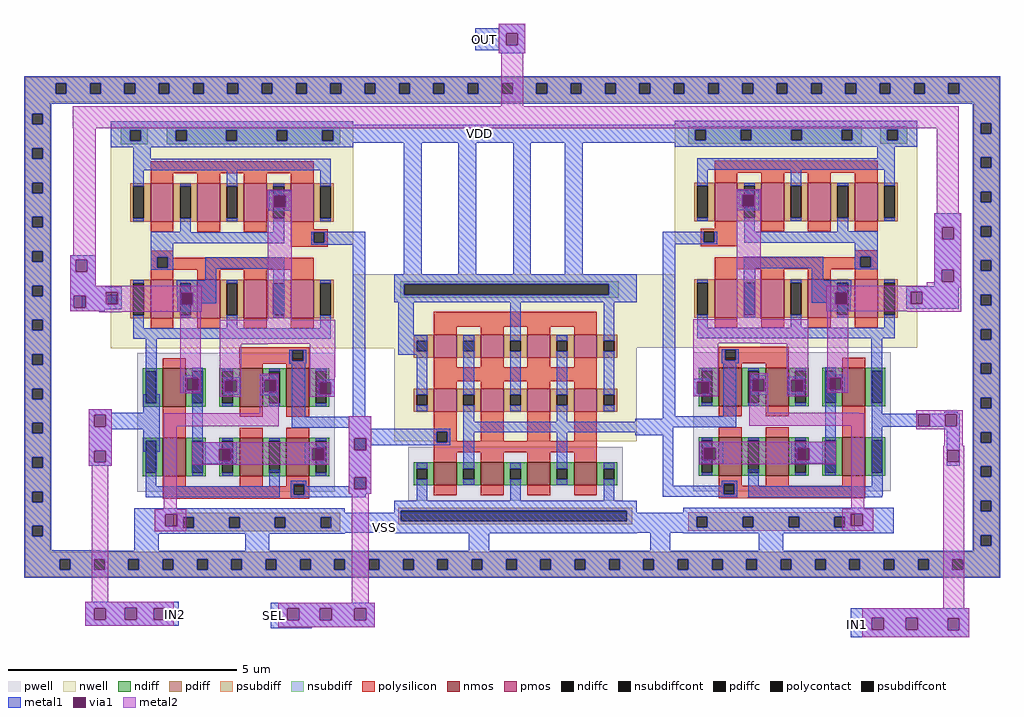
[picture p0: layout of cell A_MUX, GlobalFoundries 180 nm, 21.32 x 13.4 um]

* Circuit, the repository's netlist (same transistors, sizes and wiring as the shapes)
** sch_path: /home/moya/Documents/EuroCDP/ms_IPs/PLL/PLL-main/schematic/xschem/A_MUX.sch
.subckt A_MUX VDD VSS IN1 IN2 SEL OUT
*.iopin VSS
*.ipin IN1
*.ipin IN2
*.ipin SEL
*.opin OUT
*.iopin VDD
x1 OUT VDD VSS IN2 SEL TR_Gate
x2 OUT VDD VSS IN1 net1 TR_Gate
x3 VSS VDD net1 SEL INV_1
**.ends

* expanding   symbol:  schematic/xschem/TR_Gate.sym # of pins=5
** sym_path: /home/moya/Documents/EuroCDP/ms_IPs/PLL/PLL-main/schematic/xschem/TR_Gate.sym
** sch_path: /home/moya/Documents/EuroCDP/ms_IPs/PLL/PLL-main/schematic/xschem/TR_Gate.sch
.subckt TR_Gate OUT VDD VSS IN CLK
*.iopin VDD
*.iopin VSS
*.ipin IN
*.opin OUT
*.ipin CLK
XM1 IN net1 OUT VDD pfet_03v3 L=0.5u W=3.36u nf=1 ad='int((nf+1)/2) * W/nf * 0.18u' as='int((nf+2)/2) * W/nf * 0.18u' pd='2*int((nf+1)/2) * (W/nf + 0.18u)'
+ ps='2*int((nf+2)/2) * (W/nf + 0.18u)' nrd='0.18u / W' nrs='0.18u / W' sa=0 sb=0 sd=0 m=1
XM2 IN CLK OUT VSS nfet_03v3 L=0.5u W=3.36u nf=1 ad='int((nf+1)/2) * W/nf * 0.18u' as='int((nf+2)/2) * W/nf * 0.18u' pd='2*int((nf+1)/2) * (W/nf + 0.18u)'
+ ps='2*int((nf+2)/2) * (W/nf + 0.18u)' nrd='0.18u / W' nrs='0.18u / W' sa=0 sb=0 sd=0 m=1
XM3 net1 CLK VDD VDD pfet_03v3 L=0.5u W=3.36u nf=1 ad='int((nf+1)/2) * W/nf * 0.18u' as='int((nf+2)/2) * W/nf * 0.18u' pd='2*int((nf+1)/2) * (W/nf + 0.18u)'
+ ps='2*int((nf+2)/2) * (W/nf + 0.18u)' nrd='0.18u / W' nrs='0.18u / W' sa=0 sb=0 sd=0 m=1
XM4 net1 CLK VSS VSS nfet_03v3 L=0.5u W=1.68u nf=1 ad='int((nf+1)/2) * W/nf * 0.18u' as='int((nf+2)/2) * W/nf * 0.18u' pd='2*int((nf+1)/2) * (W/nf + 0.18u)'
+ ps='2*int((nf+2)/2) * (W/nf + 0.18u)' nrd='0.18u / W' nrs='0.18u / W' sa=0 sb=0 sd=0 m=1
.ends


* expanding   symbol:  schematic/xschem/INV_1.sym # of pins=4
** sym_path: /home/moya/Documents/EuroCDP/ms_IPs/PLL/PLL-main/schematic/xschem/INV_1.sym
** sch_path: /home/moya/Documents/EuroCDP/ms_IPs/PLL/PLL-main/schematic/xschem/INV_1.sch
.subckt INV_1 VSS VDD OUT IN
*.iopin VDD
*.iopin VSS
*.ipin IN
*.opin OUT
XM1 OUT IN VSS VSS nfet_03v3 L=0.5u W=2u nf=1 ad='int((nf+1)/2) * W/nf * 0.18u' as='int((nf+2)/2) * W/nf * 0.18u' pd='2*int((nf+1)/2) * (W/nf + 0.18u)'
+ ps='2*int((nf+2)/2) * (W/nf + 0.18u)' nrd='0.18u / W' nrs='0.18u / W' sa=0 sb=0 sd=0 m=1
XM2 OUT IN VDD VDD pfet_03v3 L=0.5u W=4u nf=1 ad='int((nf+1)/2) * W/nf * 0.18u' as='int((nf+2)/2) * W/nf * 0.18u' pd='2*int((nf+1)/2) * (W/nf + 0.18u)'
+ ps='2*int((nf+2)/2) * (W/nf + 0.18u)' nrd='0.18u / W' nrs='0.18u / W' sa=0 sb=0 sd=0 m=1
.ends

.end

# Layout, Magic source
magic
tech gf180mcuD
magscale 1 10
<< nwell >>
rect 1154 811 1332 1134
rect 2392 813 2558 1134
<< psubdiff >>
rect -280 1967 3975 1994
rect -280 1921 -146 1967
rect -100 1921 4 1967
rect 50 1921 154 1967
rect 200 1921 304 1967
rect 350 1921 454 1967
rect 500 1921 604 1967
rect 650 1921 754 1967
rect 800 1921 904 1967
rect 950 1921 1054 1967
rect 1100 1921 1204 1967
rect 1250 1921 1354 1967
rect 1400 1921 1504 1967
rect 1550 1921 1654 1967
rect 1700 1921 1804 1967
rect 1850 1921 1954 1967
rect 2000 1921 2104 1967
rect 2150 1921 2254 1967
rect 2300 1921 2404 1967
rect 2450 1921 2554 1967
rect 2600 1921 2704 1967
rect 2750 1921 2854 1967
rect 2900 1921 3004 1967
rect 3050 1921 3154 1967
rect 3200 1921 3304 1967
rect 3350 1921 3454 1967
rect 3500 1921 3604 1967
rect 3650 1921 3754 1967
rect 3800 1921 3975 1967
rect -280 1884 3975 1921
rect -280 1834 -170 1884
rect -280 1788 -248 1834
rect -202 1788 -170 1834
rect -280 1684 -170 1788
rect -280 1638 -248 1684
rect -202 1638 -170 1684
rect -280 1534 -170 1638
rect -280 1488 -248 1534
rect -202 1488 -170 1534
rect -280 1384 -170 1488
rect -280 1338 -248 1384
rect -202 1338 -170 1384
rect -280 1234 -170 1338
rect -280 1188 -248 1234
rect -202 1188 -170 1234
rect -280 1084 -170 1188
rect -280 1038 -248 1084
rect -202 1038 -170 1084
rect -280 934 -170 1038
rect -280 888 -248 934
rect -202 888 -170 934
rect -280 784 -170 888
rect -280 738 -248 784
rect -202 738 -170 784
rect -280 634 -170 738
rect -280 588 -248 634
rect -202 588 -170 634
rect -280 484 -170 588
rect -280 438 -248 484
rect -202 438 -170 484
rect -280 334 -170 438
rect -280 288 -248 334
rect -202 288 -170 334
rect -280 184 -170 288
rect -280 138 -248 184
rect -202 138 -170 184
rect -280 34 -170 138
rect -280 -12 -248 34
rect -202 -12 -170 34
rect -280 -79 -170 -12
rect 3865 1794 3975 1884
rect 3865 1748 3894 1794
rect 3940 1748 3975 1794
rect 3865 1644 3975 1748
rect 3865 1598 3894 1644
rect 3940 1598 3975 1644
rect 3865 1494 3975 1598
rect 3865 1448 3894 1494
rect 3940 1448 3975 1494
rect 3865 1344 3975 1448
rect 3865 1298 3894 1344
rect 3940 1298 3975 1344
rect 3865 1194 3975 1298
rect 3865 1148 3894 1194
rect 3940 1148 3975 1194
rect 3865 1044 3975 1148
rect 3865 998 3894 1044
rect 3940 998 3975 1044
rect 3865 894 3975 998
rect 3865 848 3894 894
rect 3940 848 3975 894
rect 3865 744 3975 848
rect 3865 698 3894 744
rect 3940 698 3975 744
rect 3865 594 3975 698
rect 3865 548 3894 594
rect 3940 548 3975 594
rect 3865 444 3975 548
rect 3865 398 3894 444
rect 3940 398 3975 444
rect 3865 294 3975 398
rect 3865 248 3894 294
rect 3940 248 3975 294
rect 3865 144 3975 248
rect 3865 98 3894 144
rect 3940 98 3975 144
rect 3865 -6 3975 98
rect 3865 -52 3894 -6
rect 3940 -52 3975 -6
rect 3865 -79 3975 -52
rect -280 -112 3975 -79
rect -280 -158 -129 -112
rect -83 -158 21 -112
rect 67 -158 171 -112
rect 217 -158 321 -112
rect 367 -158 471 -112
rect 517 -158 621 -112
rect 667 -158 771 -112
rect 817 -158 921 -112
rect 967 -158 1071 -112
rect 1117 -158 1221 -112
rect 1267 -158 1371 -112
rect 1417 -158 1521 -112
rect 1567 -158 1671 -112
rect 1717 -158 1821 -112
rect 1867 -158 1971 -112
rect 2017 -158 2121 -112
rect 2167 -158 2271 -112
rect 2317 -158 2421 -112
rect 2467 -158 2571 -112
rect 2617 -158 2721 -112
rect 2767 -158 2871 -112
rect 2917 -158 3021 -112
rect 3067 -158 3171 -112
rect 3217 -158 3321 -112
rect 3367 -158 3471 -112
rect 3517 -158 3621 -112
rect 3667 -158 3771 -112
rect 3817 -158 3975 -112
rect -280 -189 3975 -158
<< psubdiffcont >>
rect -146 1921 -100 1967
rect 4 1921 50 1967
rect 154 1921 200 1967
rect 304 1921 350 1967
rect 454 1921 500 1967
rect 604 1921 650 1967
rect 754 1921 800 1967
rect 904 1921 950 1967
rect 1054 1921 1100 1967
rect 1204 1921 1250 1967
rect 1354 1921 1400 1967
rect 1504 1921 1550 1967
rect 1654 1921 1700 1967
rect 1804 1921 1850 1967
rect 1954 1921 2000 1967
rect 2104 1921 2150 1967
rect 2254 1921 2300 1967
rect 2404 1921 2450 1967
rect 2554 1921 2600 1967
rect 2704 1921 2750 1967
rect 2854 1921 2900 1967
rect 3004 1921 3050 1967
rect 3154 1921 3200 1967
rect 3304 1921 3350 1967
rect 3454 1921 3500 1967
rect 3604 1921 3650 1967
rect 3754 1921 3800 1967
rect -248 1788 -202 1834
rect -248 1638 -202 1684
rect -248 1488 -202 1534
rect -248 1338 -202 1384
rect -248 1188 -202 1234
rect -248 1038 -202 1084
rect -248 888 -202 934
rect -248 738 -202 784
rect -248 588 -202 634
rect -248 438 -202 484
rect -248 288 -202 334
rect -248 138 -202 184
rect -248 -12 -202 34
rect 3894 1748 3940 1794
rect 3894 1598 3940 1644
rect 3894 1448 3940 1494
rect 3894 1298 3940 1344
rect 3894 1148 3940 1194
rect 3894 998 3940 1044
rect 3894 848 3940 894
rect 3894 698 3940 744
rect 3894 548 3940 594
rect 3894 398 3940 444
rect 3894 248 3940 294
rect 3894 98 3940 144
rect 3894 -52 3940 -6
rect -129 -158 -83 -112
rect 21 -158 67 -112
rect 171 -158 217 -112
rect 321 -158 367 -112
rect 471 -158 517 -112
rect 621 -158 667 -112
rect 771 -158 817 -112
rect 921 -158 967 -112
rect 1071 -158 1117 -112
rect 1221 -158 1267 -112
rect 1371 -158 1417 -112
rect 1521 -158 1567 -112
rect 1671 -158 1717 -112
rect 1821 -158 1867 -112
rect 1971 -158 2017 -112
rect 2121 -158 2167 -112
rect 2271 -158 2317 -112
rect 2421 -158 2467 -112
rect 2571 -158 2617 -112
rect 2721 -158 2767 -112
rect 2871 -158 2917 -112
rect 3021 -158 3067 -112
rect 3171 -158 3217 -112
rect 3321 -158 3367 -112
rect 3471 -158 3517 -112
rect 3621 -158 3667 -112
rect 3771 -158 3817 -112
<< metal1 >>
rect 1789 2209 1905 2227
rect 1686 2186 1905 2209
rect 1686 2134 1821 2186
rect 1873 2134 1905 2186
rect 1686 2112 1905 2134
rect 1789 2098 1905 2112
rect -285 1967 3979 1999
rect -285 1921 -146 1967
rect -100 1921 4 1967
rect 50 1921 154 1967
rect 200 1921 304 1967
rect 350 1921 454 1967
rect 500 1921 604 1967
rect 650 1921 754 1967
rect 800 1921 904 1967
rect 950 1921 1054 1967
rect 1100 1921 1204 1967
rect 1250 1921 1354 1967
rect 1400 1921 1504 1967
rect 1550 1921 1654 1967
rect 1700 1921 1804 1967
rect 1850 1921 1954 1967
rect 2000 1921 2104 1967
rect 2150 1921 2254 1967
rect 2300 1921 2404 1967
rect 2450 1921 2554 1967
rect 2600 1921 2704 1967
rect 2750 1921 2854 1967
rect 2900 1921 3004 1967
rect 3050 1921 3154 1967
rect 3200 1921 3304 1967
rect 3350 1921 3454 1967
rect 3500 1921 3604 1967
rect 3650 1921 3754 1967
rect 3800 1921 3979 1967
rect -285 1879 3979 1921
rect -285 1834 -165 1879
rect -285 1788 -248 1834
rect -202 1788 -165 1834
rect -285 1684 -165 1788
rect 3859 1794 3979 1879
rect 1076 1708 2587 1786
rect 3859 1748 3894 1794
rect 3940 1748 3979 1794
rect -285 1638 -248 1684
rect -202 1638 -165 1684
rect -285 1534 -165 1638
rect -285 1488 -248 1534
rect -202 1488 -165 1534
rect -285 1384 -165 1488
rect -285 1338 -248 1384
rect -202 1338 -165 1384
rect -285 1234 -165 1338
rect -285 1188 -248 1234
rect -202 1188 -165 1234
rect -285 1084 -165 1188
rect -285 1038 -248 1084
rect -202 1038 -165 1084
rect -285 934 -165 1038
rect -82 1196 28 1217
rect -82 1144 -60 1196
rect -8 1144 28 1196
rect -82 1084 28 1144
rect 1374 1112 1452 1708
rect 1613 1106 1691 1708
rect 1852 1099 1930 1708
rect 2078 1108 2156 1708
rect 3859 1644 3979 1748
rect 3859 1598 3894 1644
rect 3940 1598 3979 1644
rect 3859 1494 3979 1598
rect 3859 1448 3894 1494
rect 3940 1448 3979 1494
rect 3691 1338 3810 1399
rect 3691 1286 3726 1338
rect 3778 1286 3810 1338
rect 3691 1190 3810 1286
rect 3692 1153 3810 1190
rect 3692 1101 3724 1153
rect 3776 1101 3810 1153
rect -82 1044 67 1084
rect 3692 1080 3810 1101
rect 3648 1076 3810 1080
rect 3859 1344 3979 1448
rect 3859 1298 3894 1344
rect 3940 1298 3979 1344
rect 3859 1194 3979 1298
rect 3859 1148 3894 1194
rect 3940 1148 3979 1194
rect -82 1039 120 1044
rect -82 987 -67 1039
rect -15 987 120 1039
rect -82 982 120 987
rect 3648 983 3799 1076
rect 3859 1044 3979 1148
rect 3859 998 3894 1044
rect 3940 998 3979 1044
rect -82 971 67 982
rect -285 888 -248 934
rect -202 888 -165 934
rect -285 784 -165 888
rect -285 738 -248 784
rect -202 738 -165 784
rect -285 634 -165 738
rect -285 588 -248 634
rect -202 588 -165 634
rect 3859 894 3979 998
rect 3859 848 3894 894
rect 3940 848 3979 894
rect 3859 744 3979 848
rect 3859 698 3894 744
rect 3940 698 3979 744
rect -285 484 -165 588
rect -285 438 -248 484
rect -202 438 -165 484
rect -285 334 -165 438
rect -285 288 -248 334
rect -202 288 -165 334
rect -3 529 98 543
rect 235 529 307 609
rect 3859 594 3979 698
rect 3859 548 3894 594
rect 3940 548 3979 594
rect -3 519 307 529
rect 3735 524 3795 533
rect -3 467 21 519
rect 73 467 307 519
rect 3458 521 3804 524
rect -3 457 307 467
rect -3 363 98 457
rect -3 311 21 363
rect 73 311 98 363
rect 235 358 307 457
rect 1134 459 1232 512
rect 2385 488 2551 503
rect 1134 416 1453 459
rect 2336 442 2551 488
rect 3458 469 3621 521
rect 3673 469 3739 521
rect 3791 469 3804 521
rect 3458 466 3804 469
rect 3735 457 3804 466
rect 2385 430 2551 442
rect 1134 364 1158 416
rect 1210 387 1453 416
rect 1210 364 1232 387
rect -3 296 98 311
rect -285 184 -165 288
rect -285 138 -248 184
rect -202 138 -165 184
rect 1134 247 1232 364
rect 3746 365 3804 457
rect 3746 313 3749 365
rect 3801 313 3804 365
rect 3746 297 3804 313
rect 3859 444 3979 548
rect 3859 398 3894 444
rect 3940 398 3979 444
rect 1134 195 1158 247
rect 1210 195 1232 247
rect 1134 174 1232 195
rect 3859 294 3979 398
rect 3859 248 3894 294
rect 3940 248 3979 294
rect -285 34 -165 138
rect 3859 144 3979 248
rect -285 -12 -248 34
rect -202 -12 -165 34
rect -285 -73 -165 -12
rect -285 -74 46 -73
rect 197 -74 304 107
rect 681 -74 786 105
rect 1054 3 2632 91
rect 1657 -74 1747 3
rect 2451 -74 2539 3
rect 2926 -74 3031 107
rect 3859 98 3894 144
rect 3940 98 3979 144
rect 3859 -6 3979 98
rect 3859 -52 3894 -6
rect 3940 -52 3979 -6
rect 3859 -74 3979 -52
rect -285 -112 3979 -74
rect -285 -158 -129 -112
rect -83 -158 21 -112
rect 67 -158 171 -112
rect 217 -158 321 -112
rect 367 -158 471 -112
rect 517 -158 621 -112
rect 667 -158 771 -112
rect 817 -158 921 -112
rect 967 -158 1071 -112
rect 1117 -158 1221 -112
rect 1267 -158 1371 -112
rect 1417 -158 1521 -112
rect 1567 -158 1671 -112
rect 1717 -158 1821 -112
rect 1867 -158 1971 -112
rect 2017 -158 2121 -112
rect 2167 -158 2271 -112
rect 2317 -158 2421 -112
rect 2467 -158 2571 -112
rect 2617 -158 2721 -112
rect 2767 -158 2871 -112
rect 2917 -158 3021 -112
rect 3067 -158 3171 -112
rect 3217 -158 3321 -112
rect 3367 -158 3471 -112
rect 3517 -158 3621 -112
rect 3667 -158 3771 -112
rect 3817 -158 3979 -112
rect -285 -193 3979 -158
rect -17 -324 392 -297
rect -17 -325 156 -324
rect -17 -377 21 -325
rect 73 -376 156 -325
rect 208 -325 392 -324
rect 208 -376 281 -325
rect 73 -377 281 -376
rect 333 -377 392 -325
rect -17 -403 392 -377
rect 794 -302 972 -301
rect 794 -326 1248 -302
rect 794 -378 866 -326
rect 918 -378 1007 -326
rect 1059 -378 1158 -326
rect 1210 -378 1248 -326
rect 794 -410 1248 -378
rect 3327 -367 3845 -327
rect 3327 -368 3568 -367
rect 794 -413 972 -410
rect 3327 -420 3419 -368
rect 3471 -419 3568 -368
rect 3620 -369 3845 -367
rect 3620 -419 3750 -369
rect 3471 -420 3750 -419
rect 3327 -421 3750 -420
rect 3802 -421 3845 -369
rect 3327 -452 3845 -421
<< via1 >>
rect 1821 2134 1873 2186
rect -60 1144 -8 1196
rect 3726 1286 3778 1338
rect 3724 1101 3776 1153
rect -67 987 -15 1039
rect 21 467 73 519
rect 21 311 73 363
rect 3621 469 3673 521
rect 3739 469 3791 521
rect 1158 364 1210 416
rect 3749 313 3801 365
rect 1158 195 1210 247
rect 21 -377 73 -325
rect 156 -376 208 -324
rect 281 -377 333 -325
rect 866 -378 918 -326
rect 1007 -378 1059 -326
rect 1158 -378 1210 -326
rect 3419 -420 3471 -368
rect 3568 -419 3620 -367
rect 3750 -421 3802 -369
<< metal2 >>
rect 1789 2186 1905 2227
rect 1789 2134 1821 2186
rect 1873 2134 1905 2186
rect 1789 2098 1905 2134
rect 1799 1868 1896 2098
rect -73 1771 3799 1868
rect -69 1217 28 1771
rect 3702 1399 3799 1771
rect -82 1196 28 1217
rect -82 1144 -60 1196
rect -8 1144 28 1196
rect 3691 1338 3810 1399
rect 3691 1286 3726 1338
rect 3778 1286 3810 1338
rect 3691 1190 3810 1286
rect -82 1084 28 1144
rect 3692 1153 3810 1190
rect 3692 1101 3724 1153
rect 3776 1101 3810 1153
rect 3692 1099 3810 1101
rect -82 1044 67 1084
rect 3659 1076 3810 1099
rect -82 1039 78 1044
rect -82 987 -67 1039
rect -15 987 78 1039
rect -82 982 78 987
rect -82 971 67 982
rect 3659 969 3809 1076
rect -3 519 98 543
rect -3 467 21 519
rect 73 467 98 519
rect 3613 521 3816 539
rect -3 363 98 467
rect -3 311 21 363
rect 73 311 98 363
rect -3 296 98 311
rect 1134 416 1232 512
rect 3613 469 3621 521
rect 3673 469 3739 521
rect 3791 469 3816 521
rect 3613 455 3816 469
rect 1134 364 1158 416
rect 1210 364 1232 416
rect 3736 384 3816 455
rect 11 -297 83 296
rect 1134 247 1232 364
rect 1134 195 1158 247
rect 1210 195 1232 247
rect 1134 174 1232 195
rect 3731 365 3822 384
rect 3731 313 3749 365
rect 3801 313 3822 365
rect -17 -324 369 -297
rect 1146 -302 1222 174
rect -17 -325 156 -324
rect -17 -377 21 -325
rect 73 -376 156 -325
rect 208 -325 369 -324
rect 208 -376 281 -325
rect 73 -377 281 -376
rect 333 -377 369 -325
rect -17 -403 369 -377
rect 826 -326 1248 -302
rect 826 -378 866 -326
rect 918 -378 1007 -326
rect 1059 -378 1158 -326
rect 1210 -378 1248 -326
rect 3731 -327 3822 313
rect 826 -410 1248 -378
rect 3378 -367 3845 -327
rect 3378 -368 3568 -367
rect 3378 -420 3419 -368
rect 3471 -419 3568 -368
rect 3620 -369 3845 -367
rect 3620 -419 3750 -369
rect 3471 -420 3750 -419
rect 3378 -421 3750 -420
rect 3802 -421 3845 -369
rect 3378 -452 3845 -421
use INV_2  INV_2_0
transform 1 0 1311 0 1 486
box 21 -485 1081 648
use Tr_Gate  Tr_Gate_0
transform -1 0 1154 0 1 1233
box -53 -1233 1187 569
use Tr_Gate  Tr_Gate_1
transform 1 0 2558 0 1 1235
box -53 -1233 1187 569
<< labels >>
flabel metal1 s 811 -359 811 -359 0 FreeSans 1250 0 0 0 SEL
port 1 nsew
flabel metal1 s 3355 -397 3355 -397 0 FreeSans 1250 0 0 0 IN1
port 2 nsew
flabel metal1 s 377 -354 377 -354 0 FreeSans 1250 0 0 0 IN2
port 3 nsew
flabel metal1 s 1705 1747 1705 1747 0 FreeSans 1250 0 0 0 VDD
port 4 nsew
flabel metal1 s 1288 27 1288 27 0 FreeSans 1250 0 0 0 VSS
port 5 nsew
flabel metal1 s 1728 2158 1728 2158 0 FreeSans 1250 0 0 0 OUT
port 6 nsew
<< end >>

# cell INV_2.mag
magic
tech gf180mcuD
magscale 1 10
<< nwell >>
rect 21 513 1081 648
rect 21 507 166 513
rect 168 507 525 508
rect 528 507 1081 513
rect 371 470 907 483
rect 321 180 324 242
<< psubdiff >>
rect 38 -385 1061 -372
rect 38 -431 51 -385
rect 1037 -431 1061 -385
rect 38 -444 1061 -431
<< nsubdiff >>
rect 47 604 1002 617
rect 47 558 66 604
rect 958 558 1002 604
rect 47 545 1002 558
<< psubdiffcont >>
rect 51 -431 1037 -385
<< nsubdiffcont >>
rect 66 558 958 604
<< polysilicon >>
rect 195 417 907 483
rect 195 180 907 242
rect 194 -40 295 9
rect 194 -86 208 -40
rect 254 -83 295 -40
rect 399 -83 499 3
rect 603 -83 703 3
rect 807 -83 907 3
rect 254 -86 907 -83
rect 194 -131 907 -86
<< polycontact >>
rect 208 -86 254 -40
<< metal1 >>
rect 21 604 1081 648
rect 21 558 66 604
rect 958 558 1081 604
rect 21 525 1081 558
rect 21 524 574 525
rect 40 381 106 524
rect 40 295 166 381
rect 120 135 166 295
rect 324 141 370 381
rect 528 372 574 524
rect 936 372 982 525
rect 528 140 574 302
rect 732 142 778 290
rect 936 134 982 298
rect 324 2 370 53
rect 732 2 778 50
rect 35 -40 266 -27
rect 35 -86 208 -40
rect 254 -86 266 -40
rect 35 -99 266 -86
rect 324 -44 1071 2
rect 324 -189 370 -44
rect 732 -182 778 -44
rect 120 -342 166 -256
rect 528 -342 574 -253
rect 936 -342 982 -252
rect 22 -385 1080 -342
rect 22 -431 51 -385
rect 1037 -431 1080 -385
rect 22 -485 1080 -431
use nmos_3p3_6FEA4B  nmos_3p3_6FEA4B_0
transform 1 0 551 0 1 -225
box -468 -118 468 118
use pmos_3p3_KYEELV  pmos_3p3_KYEELV_0
transform 1 0 551 0 1 215
box -530 -298 530 298
<< labels >>
flabel nsubdiffcont 559 581 559 581 0 FreeSans 1250 0 0 0 VDD
flabel psubdiffcont 544 -408 544 -408 0 FreeSans 1250 0 0 0 VSS
flabel metal1 s 53 -64 53 -64 0 FreeSans 1250 0 0 0 IN
port 1 nsew
flabel metal1 s 1042 -23 1042 -23 0 FreeSans 1250 0 0 0 OUT
port 2 nsew
<< end >>

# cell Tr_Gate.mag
magic
tech gf180mcuD
magscale 1 10
<< nwell >>
rect 0 428 1060 569
rect 815 342 870 380
rect 397 -180 398 -151
rect 600 -242 725 -89
rect 145 -341 916 -337
<< pwell >>
rect 205 -475 206 -466
rect 217 -480 269 -442
rect 609 -1050 620 -442
<< pmos >>
rect 662 -180 663 -151
<< psubdiff >>
rect 58 -1162 787 -1141
rect 58 -1208 97 -1162
rect 143 -1208 297 -1162
rect 343 -1208 497 -1162
rect 543 -1208 697 -1162
rect 743 -1208 787 -1162
rect 58 -1223 787 -1208
<< nsubdiff >>
rect 58 529 816 545
rect 58 483 89 529
rect 135 483 289 529
rect 335 483 509 529
rect 555 483 729 529
rect 775 483 816 529
rect 58 469 816 483
rect 898 529 1016 545
rect 898 483 929 529
rect 975 483 1016 529
rect 898 469 1016 483
<< psubdiffcont >>
rect 97 -1208 143 -1162
rect 297 -1208 343 -1162
rect 497 -1208 543 -1162
rect 697 -1208 743 -1162
<< nsubdiffcont >>
rect 89 483 135 529
rect 289 483 335 529
rect 509 483 555 529
rect 729 483 775 529
rect 929 483 975 529
<< polysilicon >>
rect 174 342 886 394
rect 113 89 174 97
rect 113 83 274 89
rect 113 37 127 83
rect 173 37 274 83
rect 113 21 274 37
rect 786 -26 886 4
rect 786 -28 811 -26
rect 174 -72 811 -28
rect 857 -72 886 -26
rect 174 -81 886 -72
rect 192 -431 498 -418
rect 192 -466 220 -431
rect 205 -477 220 -466
rect 266 -466 498 -431
rect 266 -477 478 -466
rect 204 -490 478 -477
rect 490 -490 498 -466
rect 732 -770 832 -722
rect 212 -1017 264 -1016
rect 212 -1025 215 -1017
rect 192 -1063 215 -1025
rect 261 -1025 264 -1017
rect 261 -1063 832 -1025
rect 192 -1081 832 -1063
<< polycontact >>
rect 127 37 173 83
rect 811 -72 857 -26
rect 220 -477 266 -431
rect 215 -1063 261 -1017
<< metal1 >>
rect 0 529 1060 569
rect 0 483 89 529
rect 135 483 289 529
rect 335 483 509 529
rect 555 483 729 529
rect 775 483 929 529
rect 975 483 1060 529
rect 0 455 1060 483
rect 885 405 961 455
rect 99 355 961 405
rect 99 285 145 355
rect 507 285 553 355
rect 915 285 961 355
rect 270 246 369 265
rect 270 194 295 246
rect 347 194 369 246
rect 270 178 369 194
rect -52 83 185 85
rect -52 37 127 83
rect 173 37 185 83
rect -52 30 185 37
rect 303 84 349 132
rect 711 86 757 132
rect 711 84 886 86
rect 303 36 886 84
rect -52 -722 3 30
rect 786 -26 886 36
rect 302 -75 648 -26
rect 302 -288 351 -75
rect 599 -127 648 -75
rect 786 -72 811 -26
rect 857 -72 886 -26
rect 786 -80 886 -72
rect 599 -180 771 -127
rect 599 -226 701 -180
rect 663 -232 701 -226
rect 753 -195 771 -180
rect 1011 -178 1187 -155
rect 753 -232 770 -195
rect 663 -263 770 -232
rect 1011 -230 1030 -178
rect 1082 -230 1187 -178
rect 1011 -252 1187 -230
rect 99 -336 145 -290
rect 507 -336 553 -290
rect 915 -336 961 -290
rect 99 -382 961 -336
rect 205 -431 280 -429
rect 205 -477 220 -431
rect 266 -477 280 -431
rect 205 -490 280 -477
rect 81 -571 154 -558
rect 81 -623 98 -571
rect 150 -623 154 -571
rect 81 -635 154 -623
rect 211 -722 269 -490
rect 657 -540 703 -509
rect 329 -560 409 -542
rect 329 -612 338 -560
rect 390 -612 409 -560
rect 329 -629 409 -612
rect 494 -562 567 -549
rect 494 -614 510 -562
rect 562 -614 567 -562
rect 494 -626 567 -614
rect 657 -554 743 -540
rect 657 -606 675 -554
rect 727 -606 743 -554
rect 657 -620 743 -606
rect -52 -762 269 -722
rect -53 -770 269 -762
rect -53 -1026 -6 -770
rect 106 -860 212 -833
rect 657 -834 703 -620
rect 859 -665 906 -382
rect 859 -667 907 -665
rect 106 -912 127 -860
rect 179 -912 212 -860
rect 106 -932 212 -912
rect 510 -863 703 -834
rect 510 -915 535 -863
rect 587 -915 703 -863
rect 510 -927 703 -915
rect 205 -1017 273 -1003
rect 205 -1026 215 -1017
rect -53 -1063 215 -1026
rect 261 -1063 273 -1017
rect -53 -1073 273 -1063
rect 321 -1027 368 -953
rect 657 -977 703 -927
rect 860 -717 907 -667
rect 860 -763 1001 -717
rect 860 -953 906 -763
rect 861 -1027 908 -954
rect 321 -1067 908 -1027
rect 321 -1072 907 -1067
rect 321 -1075 906 -1072
rect 38 -1148 957 -1121
rect 38 -1162 770 -1148
rect 38 -1208 97 -1162
rect 143 -1208 297 -1162
rect 343 -1208 497 -1162
rect 543 -1208 697 -1162
rect 743 -1200 770 -1162
rect 822 -1200 957 -1148
rect 743 -1208 957 -1200
rect 38 -1233 957 -1208
<< via1 >>
rect 295 194 347 246
rect 701 -232 753 -180
rect 1030 -230 1082 -178
rect 98 -623 150 -571
rect 338 -612 390 -560
rect 510 -614 562 -562
rect 675 -606 727 -554
rect 127 -912 179 -860
rect 535 -915 587 -863
rect 770 -1200 822 -1148
<< metal2 >>
rect 270 265 375 270
rect 270 246 376 265
rect 270 194 295 246
rect 347 194 376 246
rect 270 191 376 194
rect 270 -298 375 191
rect 663 -178 1111 -151
rect 663 -180 1030 -178
rect 663 -232 701 -180
rect 753 -230 1030 -180
rect 1082 -230 1111 -178
rect 753 -232 1111 -230
rect 663 -264 1111 -232
rect 80 -404 583 -298
rect 80 -550 190 -404
rect 373 -405 583 -404
rect 81 -571 190 -550
rect 81 -623 98 -571
rect 150 -623 190 -571
rect 81 -635 190 -623
rect 327 -542 408 -535
rect 327 -560 409 -542
rect 327 -612 338 -560
rect 390 -612 409 -560
rect 327 -629 409 -612
rect 490 -562 583 -405
rect 490 -614 510 -562
rect 562 -614 583 -562
rect 327 -682 408 -629
rect 490 -635 583 -614
rect 666 -554 757 -264
rect 1015 -265 1111 -264
rect 666 -606 675 -554
rect 727 -606 757 -554
rect 666 -620 757 -606
rect 325 -707 408 -682
rect 325 -708 807 -707
rect 325 -763 828 -708
rect 106 -860 703 -834
rect 106 -912 127 -860
rect 179 -863 703 -860
rect 179 -912 535 -863
rect 106 -915 535 -912
rect 587 -915 703 -863
rect 106 -932 703 -915
rect 772 -1126 828 -763
rect 731 -1148 867 -1126
rect 731 -1200 770 -1148
rect 822 -1200 867 -1148
rect 731 -1223 867 -1200
use nmos_3p3_UKFAHE  nmos_3p3_UKFAHE_0
transform 1 0 243 0 1 -898
box -162 -152 162 152
use nmos_3p3_UKFAHE  nmos_3p3_UKFAHE_1
transform 1 0 447 0 1 -898
box -162 -152 162 152
use nmos_3p3_UKFAHE  nmos_3p3_UKFAHE_2
transform 1 0 782 0 1 -594
box -162 -152 162 152
use nmos_3p3_UKFAHE  nmos_3p3_UKFAHE_3
transform 1 0 782 0 1 -898
box -162 -152 162 152
use nmos_3p3_UKFAHE  nmos_3p3_UKFAHE_4
transform 1 0 447 0 1 -594
box -162 -152 162 152
use nmos_3p3_UKFAHE  nmos_3p3_UKFAHE_5
transform 1 0 243 0 1 -594
box -162 -152 162 152
use pmos_3p3_YMKZL5  pmos_3p3_YMKZL5_0
transform 1 0 428 0 1 -208
box -224 -214 224 214
use pmos_3p3_YMKZL5  pmos_3p3_YMKZL5_1
transform 1 0 632 0 1 -208
box -224 -214 224 214
use pmos_3p3_YMKZL5  pmos_3p3_YMKZL5_2
transform 1 0 836 0 1 -208
box -224 -214 224 214
use pmos_3p3_YMKZL5  pmos_3p3_YMKZL5_3
transform 1 0 224 0 1 -208
box -224 -214 224 214
use pmos_3p3_YMKZL5  pmos_3p3_YMKZL5_4
transform 1 0 836 0 1 214
box -224 -214 224 214
use pmos_3p3_YMKZL5  pmos_3p3_YMKZL5_5
transform 1 0 632 0 1 214
box -224 -214 224 214
use pmos_3p3_YMKZL5  pmos_3p3_YMKZL5_6
transform 1 0 428 0 1 214
box -224 -214 224 214
use pmos_3p3_YMKZL5  pmos_3p3_YMKZL5_7
transform 1 0 224 0 1 214
box -224 -214 224 214
<< labels >>
flabel psubdiffcont 514 -1187 514 -1187 0 FreeSans 750 0 0 0 VSS
flabel nsubdiffcont 533 506 533 506 0 FreeSans 1000 0 0 0 VDD
flabel metal1 s 1133 -218 1133 -218 0 FreeSans 750 0 0 0 OUT
port 1 nsew
flabel metal1 s 966 -741 966 -741 0 FreeSans 750 0 0 0 IN
port 2 nsew
flabel metal1 s -37 -344 -37 -344 0 FreeSans 750 0 0 0 CLK
port 3 nsew
<< end >>

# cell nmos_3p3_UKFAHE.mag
magic
tech gf180mcuD
magscale 1 10
<< pwell >>
rect -162 -152 162 152
<< nmos >>
rect -50 -84 50 84
<< ndiff >>
rect -138 70 -50 84
rect -138 -70 -125 70
rect -79 -70 -50 70
rect -138 -84 -50 -70
rect 50 70 138 84
rect 50 -70 79 70
rect 125 -70 138 70
rect 50 -84 138 -70
<< ndiffc >>
rect -125 -70 -79 70
rect 79 -70 125 70
<< polysilicon >>
rect -50 84 50 128
rect -50 -128 50 -84
<< metal1 >>
rect -125 70 -79 82
rect -125 -82 -79 -70
rect 79 70 125 82
rect 79 -82 125 -70
<< end >>

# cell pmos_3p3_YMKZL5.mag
magic
tech gf180mcuD
magscale 1 10
<< nwell >>
rect -224 -214 224 214
<< pmos >>
rect -50 -84 50 84
<< pdiff >>
rect -138 70 -50 84
rect -138 -70 -125 70
rect -79 -70 -50 70
rect -138 -84 -50 -70
rect 50 70 138 84
rect 50 -70 79 70
rect 125 -70 138 70
rect 50 -84 138 -70
<< pdiffc >>
rect -125 -70 -79 70
rect 79 -70 125 70
<< polysilicon >>
rect -50 84 50 128
rect -50 -128 50 -84
<< metal1 >>
rect -125 70 -79 82
rect -125 -82 -79 -70
rect 79 70 125 82
rect 79 -82 125 -70
<< end >>

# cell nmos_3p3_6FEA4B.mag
magic
tech gf180mcuD
magscale 1 10
<< pwell >>
rect -468 -118 468 118
<< nmos >>
rect -356 -50 -256 50
rect -152 -50 -52 50
rect 52 -50 152 50
rect 256 -50 356 50
<< ndiff >>
rect -444 23 -356 50
rect -444 -23 -431 23
rect -385 -23 -356 23
rect -444 -50 -356 -23
rect -256 23 -152 50
rect -256 -23 -227 23
rect -181 -23 -152 23
rect -256 -50 -152 -23
rect -52 23 52 50
rect -52 -23 -23 23
rect 23 -23 52 23
rect -52 -50 52 -23
rect 152 23 256 50
rect 152 -23 181 23
rect 227 -23 256 23
rect 152 -50 256 -23
rect 356 23 444 50
rect 356 -23 385 23
rect 431 -23 444 23
rect 356 -50 444 -23
<< ndiffc >>
rect -431 -23 -385 23
rect -227 -23 -181 23
rect -23 -23 23 23
rect 181 -23 227 23
rect 385 -23 431 23
<< polysilicon >>
rect -356 50 -256 94
rect -152 50 -52 94
rect 52 50 152 94
rect 256 50 356 94
rect -356 -94 -256 -50
rect -152 -94 -52 -50
rect 52 -94 152 -50
rect 256 -94 356 -50
<< metal1 >>
rect -431 23 -385 48
rect -431 -48 -385 -23
rect -227 23 -181 48
rect -227 -48 -181 -23
rect -23 23 23 48
rect -23 -48 23 -23
rect 181 23 227 48
rect 181 -48 227 -23
rect 385 23 431 48
rect 385 -48 431 -23
<< end >>

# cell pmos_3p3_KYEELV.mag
magic
tech gf180mcuD
magscale 1 10
<< nwell >>
rect -530 -298 530 298
<< pmos >>
rect -356 68 -256 168
rect -152 68 -52 168
rect 52 68 152 168
rect 256 68 356 168
rect -356 -168 -256 -68
rect -152 -168 -52 -68
rect 52 -168 152 -68
rect 256 -168 356 -68
<< pdiff >>
rect -444 141 -356 168
rect -444 95 -431 141
rect -385 95 -356 141
rect -444 68 -356 95
rect -256 141 -152 168
rect -256 95 -227 141
rect -181 95 -152 141
rect -256 68 -152 95
rect -52 141 52 168
rect -52 95 -23 141
rect 23 95 52 141
rect -52 68 52 95
rect 152 141 256 168
rect 152 95 181 141
rect 227 95 256 141
rect 152 68 256 95
rect 356 141 444 168
rect 356 95 385 141
rect 431 95 444 141
rect 356 68 444 95
rect -444 -95 -356 -68
rect -444 -141 -431 -95
rect -385 -141 -356 -95
rect -444 -168 -356 -141
rect -256 -95 -152 -68
rect -256 -141 -227 -95
rect -181 -141 -152 -95
rect -256 -168 -152 -141
rect -52 -95 52 -68
rect -52 -141 -23 -95
rect 23 -141 52 -95
rect -52 -168 52 -141
rect 152 -95 256 -68
rect 152 -141 181 -95
rect 227 -141 256 -95
rect 152 -168 256 -141
rect 356 -95 444 -68
rect 356 -141 385 -95
rect 431 -141 444 -95
rect 356 -168 444 -141
<< pdiffc >>
rect -431 95 -385 141
rect -227 95 -181 141
rect -23 95 23 141
rect 181 95 227 141
rect 385 95 431 141
rect -431 -141 -385 -95
rect -227 -141 -181 -95
rect -23 -141 23 -95
rect 181 -141 227 -95
rect 385 -141 431 -95
<< polysilicon >>
rect -356 168 -256 212
rect -152 168 -52 212
rect 52 168 152 212
rect 256 168 356 212
rect -356 24 -256 68
rect -152 24 -52 68
rect 52 24 152 68
rect 256 24 356 68
rect -356 -68 -256 -24
rect -152 -68 -52 -24
rect 52 -68 152 -24
rect 256 -68 356 -24
rect -356 -212 -256 -168
rect -152 -212 -52 -168
rect 52 -212 152 -168
rect 256 -212 356 -168
<< metal1 >>
rect -431 141 -385 166
rect -431 70 -385 95
rect -227 141 -181 166
rect -227 70 -181 95
rect -23 141 23 166
rect -23 70 23 95
rect 181 141 227 166
rect 181 70 227 95
rect 385 141 431 166
rect 385 70 431 95
rect -431 -95 -385 -70
rect -431 -166 -385 -141
rect -227 -95 -181 -70
rect -227 -166 -181 -141
rect -23 -95 23 -70
rect -23 -166 23 -141
rect 181 -95 227 -70
rect 181 -166 227 -141
rect 385 -95 431 -70
rect 385 -166 431 -141
<< end >>
